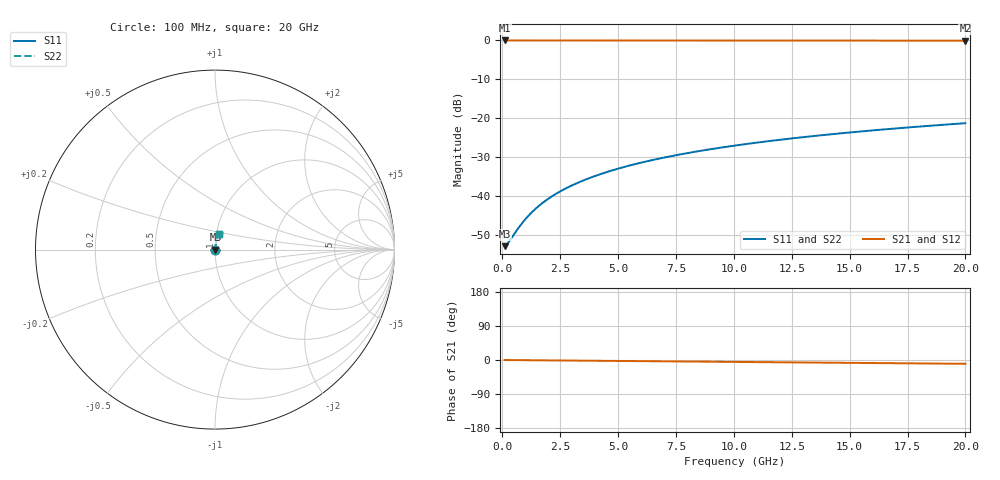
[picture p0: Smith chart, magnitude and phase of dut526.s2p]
! Touchstone file exported from HFSS 2026.1.0
!  File:  C:/ffzhzh/LocalFiles/Ansys_Project_Files/temp_train_TSV_526_1783023673_4048.aedt
!  Generated:  04:24:31 AM Jul  3, 2026
!  Design:  TSV
!  Project:  temp_train_TSV_526_1783023673_4048
! Variables:
!  h_bsmrdl = 2um
!  h_ox = 20um
!  h_rdl = 5um
!  h_sub = 93.23um
!  h_tmrdl = 5um
!  h_tsv = 93.23um
!  h_via = 3um
!  l_bsmrdl = 300um
!  l_sub = 404.36um
!  l_tmrdl = 200um
!  m_sub = 200um
!  pitch = 21.94um
!  r_tsv = 2.18um
!  s_tmrdl = 10um
!  w_bsmrdl = 18um
!  w_sub = 500um
!  w_tmrdl = 12um
!  x_tsv_center1 = 206um
!  x_tsv_center2 = 524um
!  x_tsv_center3 = 736um
!  x_tsv_center4 = 1054um
!  x_tsv_center5 = 1266um
!  x_tsv_center6 = 1584um
# GHz S MA R 50.000000
! Terminal data exported
! Port[1] = TSV1_1_T1
! Port[2] = TSV1_1_T2
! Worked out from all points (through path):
!   200 points, 100 MHz to 20 GHz, reference 50 ohm
!   highest |S21| = -0.02 dB at 100 MHz (marker M1); lowest = -0.1 dB at 20 GHz (marker M2)
!   group delay of S21, straight-line fit = 1.39 ps
!   lowest |S11| = -52.8 dB at 100 MHz (marker M3), VSWR 1.00, Z = 50.2 + j0.0461 ohm
!   |S11| at or under -10 dB: start of sweep to end of sweep
!   |S22| runs from -52.8 to -21.3 dB; largest |S21 - S12| = 3.1e-15
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0.1  0.002286 11.6  0.9978 -0.1  0.9978 -0.1  0.002286 11.6
! Gamma 0 0 0 0
! Port Impedance 50 0 50 0
0.2  0.002426 22.2  0.9978 -0.1  0.9978 -0.1  0.002426 22.2
0.3  0.00264 31.4  0.9977 -0.2  0.9977 -0.2  0.00264 31.4
0.7  0.003929 54.1  0.9977 -0.4  0.9977 -0.4  0.003929 54.1
1  0.005098 62.6  0.9977 -0.5  0.9977 -0.5  0.005098 62.6
1.3  0.006336 67.8  0.9977 -0.7  0.9977 -0.7  0.006336 67.8
1.6  0.007609 71.2  0.9976 -0.8  0.9976 -0.8  0.007609 71.2
2  0.009337 74.3  0.9976 -1.0  0.9976 -1.0  0.009337 74.3
2.4  0.01109 76.3  0.9975 -1.2  0.9975 -1.2  0.01109 76.3
2.9  0.01329 78.0  0.9975 -1.5  0.9975 -1.5  0.01329 78.0
3.5  0.01594 79.2  0.9974 -1.8  0.9974 -1.8  0.01594 79.2
4.2  0.01904 80.1  0.9973 -2.1  0.9973 -2.1  0.01904 80.1
5  0.02259 80.7  0.9971 -2.6  0.9971 -2.6  0.02259 80.7
5.9  0.02656 81.0  0.9969 -3.0  0.9969 -3.0  0.02656 81.0
6.8  0.03053 81.1  0.9966 -3.5  0.9966 -3.5  0.03053 81.1
8.3  0.0371 80.9  0.9962 -4.2  0.9962 -4.2  0.0371 80.9
10.1  0.04491 80.5  0.9955 -5.1  0.9955 -5.1  0.04491 80.5
11.7  0.05179 79.9  0.9949 -5.9  0.9949 -5.9  0.05179 79.9
13.4  0.05904 79.3  0.9942 -6.8  0.9942 -6.8  0.05904 79.3
15  0.06579 78.7  0.9935 -7.6  0.9935 -7.6  0.06579 78.7
16.7  0.07291 78.0  0.9927 -8.4  0.9927 -8.4  0.07291 78.0
20  0.08657 76.6  0.9911 -10.0  0.9911 -10.0  0.08657 76.6
